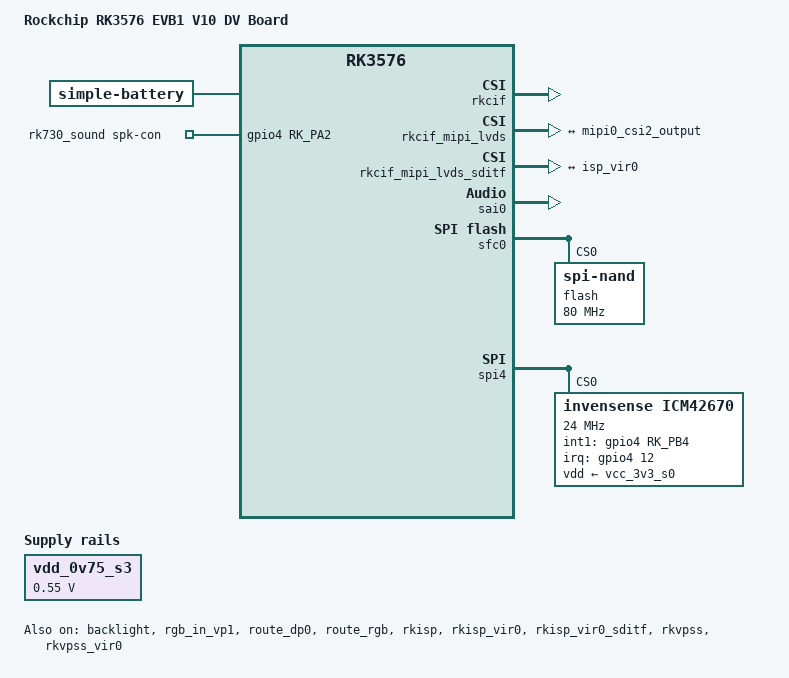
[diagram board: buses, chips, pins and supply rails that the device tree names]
// SPDX-License-Identifier: (GPL-2.0+ OR MIT)
/*
 * Copyright (c) 2024 Rockchip Electronics Co., Ltd.
 *
 */

/dts-v1/;
#include <dt-bindings/display/media-bus-format.h>
#include "rk3576s.dtsi"
#include "rk3576s-evb1.dtsi"
#include "rk3576-linux.dtsi"

/ {
	model = "Rockchip RK3576 EVB1 V10 DV Board";
	compatible = "rockchip,rk3576-evb1-v10-dv", "rockchip,rk3576";
	/delete-node/ vbus5v0-typec;
	/delete-node/ vcc-mipicsi0-regulator;
	/delete-node/ vcc-mipicsi1-regulator;

	bat: battery {
		compatible = "simple-battery";
		charge-full-design-microamp-hours = <8000000>;
		precharge-current-microamp = <180000>;
		precharge-upper-limit-microvolt = <3600000>;
		charge-term-current-microamp = <300000>;
		constant-charge-current-max-microamp = <10000000>;
		constant-charge-voltage-max-microvolt = <4350000>;
		factory-internal-resistance-micro-ohms = <80>;
		voltage-max-design-microvolt = <4350000>;
		voltage-min-design-microvolt = <3000000>;
	};

	charge-animation {
		compatible = "rockchip,uboot-charge";
		rockchip,uboot-charge-on = <0>;
		rockchip,android-charge-on = <1>;
		rockchip,uboot-low-power-voltage = <3450>;
		rockchip,screen-on-voltage = <3500>;
		rockchip,auto-wakeup-interval = <5>;
		rockchip,uboot-exit-charge-level = <2>;
		rockchip,uboot-exit-charge-voltage = <3500>;
		rockchip,uboot-exit-charge-auto = <1>;
		status = "disabled";
	};

	rk730_sound: rk730-sound {
		status = "okay";
		compatible = "rockchip,multicodecs-card";
		rockchip,card-name = "rockchip-rk730";
		spk-con-gpio = <&gpio4 RK_PA2 GPIO_ACTIVE_HIGH>;
		rockchip,pre-power-on-delay-ms = <30>;
		rockchip,post-power-down-delay-ms = <40>;
		rockchip,format = "i2s";
		rockchip,mclk-fs = <256>;
		rockchip,cpu = <&sai0>;
		rockchip,codec = <&rk730>;
		rockchip,audio-routing =
				"Headphone", "LOUT1",
				"Headphone", "ROUT1",
				"Speaker", "LOUT2",
				"Speaker", "ROUT2",
				"Headphone", "Headphone Power",
				"Headphone", "Headphone Power",
				"Speaker", "Speaker Power",
				"Speaker", "Speaker Power",
				"MIC2", "Main Mic",
				"MIC1", "Headset Mic";
	};
};

&backlight {
	pwms = <&pwm1_6ch_3 0 25000 0>;
	status = "okay";
};

&chosen {
	bootargs = "earlycon=uart8250,mmio32,0x2ad40000 console=ttyFIQ0 \
		   ubi.mtd=3 root=ubi0:rootfs rootfstype=ubifs rw rootwait \
		   rcupdate.rcu_expedited=1 rcu_nocbs=all isolcpus=3 nohz_full=3 \
		   snd_aloop.index=7 snd_aloop.use_raw_jiffies=1";
};

&CPU_SLEEP {
	status = "disabled";
};

&csi2_dcphy0 {
	status = "okay";

	ports {
		#address-cells = <1>;
		#size-cells = <0>;
		port@0 {
			reg = <0>;
			#address-cells = <1>;
			#size-cells = <0>;

			mipi_in_ucam0: endpoint@1 {
				reg = <1>;
				remote-endpoint = <&imx386_out0>;
				data-lanes = <1 2 3 4>;
			};

		};
		port@1 {
			reg = <1>;
			#address-cells = <1>;
			#size-cells = <0>;

			csidcphy0_out: endpoint@0 {
				reg = <0>;
				remote-endpoint = <&mipi0_csi2_input>;
			};
		};
	};
};

&display_subsystem {
	status = "okay";
};

&dp {
	status = "okay";
};

&dp0 {
	status = "okay";
};

&dp0_in_vp2 {
	status = "okay";
};

&dsi {
	status = "disabled";
};

&es8388_sound {
	status = "disabled";
};

&gpio4 {
	interrupt-affinity = <&cpu_l0>, <&cpu_l3>, <&cpu_l0>, <&cpu_l0>;
	interrupt-pins = <0>,
			 <RK_PIN_TO_BIT(RK_PB4)>,
			 <0>,
			 <0>;
};

&gt1x {
	status = "disabled";
};

&hdmi {
	status = "disabled";
};

&hdmi_in_vp0 {
	status = "disabled";
};

&hdptxphy_hdmi {
	status = "disabled";
};

&i2c2 {
	status = "okay";
	/delete-node/ husb311@4e;

	usbc0: fusb302@22 {
		compatible = "fcs,fusb302";
		reg = <0x22>;
		interrupt-parent = <&gpio0>;
		interrupts = <RK_PB4 IRQ_TYPE_LEVEL_LOW>;
		pinctrl-names = "default";
		pinctrl-0 = <&usbc0_int>;
		vbus-supply = <&vbus5v0_typec>;
		wakeup-source;
		status = "okay";

		port {
			usbc0_role_sw: endpoint {
				remote-endpoint = <&usb_drd0_role_switch>;
			};
		};

		usb_con: connector {
			compatible = "usb-c-connector";
			label = "USB-C";
			data-role = "dual";
			power-role = "dual";
			try-power-role = "sink";
			op-sink-microwatt = <1000000>;
			sink-pdos =
				<PDO_FIXED(5000, 3000, PDO_FIXED_USB_COMM)>;
			source-pdos =
				<PDO_FIXED(5000, 3000, PDO_FIXED_USB_COMM)>;
			mode-switch = <&dp>;

			altmodes {
				#address-cells = <1>;
				#size-cells = <0>;

				altmode@0 {
					reg = <0>;
					svid = <0xff01>;
					vdo = <0xffffffff>;
				};
			};

			ports {
				#address-cells = <1>;
				#size-cells = <0>;

				port@0 {
					reg = <0>;
					usbc0_orien_sw: endpoint {
						remote-endpoint = <&usbdp_phy_orientation_switch>;
					};
				};

				port@1 {
					reg = <1>;
					dp_altmode_mux: endpoint {
						remote-endpoint = <&usbdp_phy_dp_altmode_mux>;
					};
				};
			};
		};
	};
};

&i2c3 {
	status = "disabled";
};

&i2c4 {
	status = "okay";
	pinctrl-names = "default";
	pinctrl-0 = <&i2c4m1_xfer>;

	cw221X@64 {
		compatible = "cellwise,cw221X";
		reg = <0x64>;
		status = "okay";
		cw,user_rsense = <2000>;
		cellwise,battery-profile = /bits/ 8
			<0x5A 0x00 0x00 0x00 0x00 0x00 0x00 0x00
			 0xAA 0xB4 0xB7 0xBB 0xA7 0x9F 0xE3 0xD6
			 0xD0 0xFF 0xF5 0xA4 0x89 0x6D 0x5B 0x51
			 0x48 0x47 0x45 0xCC 0xC5 0xD8 0x7E 0xD3
			 0xCD 0xCC 0xCB 0xCA 0xC3 0xBF 0xDD 0x9A
			 0xB7 0xB9 0xB0 0x99 0x8A 0x82 0x76 0x69
			 0x61 0x63 0x77 0x8E 0xA5 0x7F 0x55 0x5F
			 0x20 0x00 0xAB 0x10 0x00 0xA2 0xEC 0x00
			 0x00 0x00 0x64 0x26 0xB1 0xCE 0x00 0x00
			 0x00 0x00 0x00 0x00 0x00 0x00 0x00 0x11>;
	};

	sc89601: sc89601@6b {
		compatible = "sc,sc89601";
		reg = <0x6b>;
		status = "okay";
		pinctrl-names = "default";
		pinctrl-0 = <&charger_ok>;
		interrupt-parent = <&gpio0>;
		interrupts = <RK_PD2 IRQ_TYPE_EDGE_FALLING>; /* IRQ_TYPE_LEVEL_LOW>;*/
		charger-phandle = <&usbc0>;
		sc,battery-regulation-voltage = <4350000>; /* 4200000,4.2V , 4350000, 4232000*/
		sc,charge-current = <3000000>; /*2040000,* 2.040A, 3000000 */
		sc,termination-current = <180000>;  /* 180mA, 180000 */
		sc,precharge-current = <180000>; /* 180mA */
		sc,minimum-sys-voltage = <3400000>; /*3500000, 3.5V */
		sc,boost-voltage = <5000000>; /*5100000, 5.1V */
		sc,boost-max-current = <1500000>; /*1200000, 1200mA */

		sc,use-stat-pin = <0>; /* enable stat pin */
		sc,boost-freq = <0>; /* 1.5MHz */

		//monitored-battery = <&bat>;
		regulators {
			otg-en-pin = <&gpio0 RK_PD3 GPIO_ACTIVE_HIGH>;
			vbus5v0_typec: vbus5v0-typec {
				regulator-compatible = "otg-vbus";
				regulator-name = "vbus5v0_typec";
			};
		};
	};
};

&i2c5 {
	status = "okay";
	pinctrl-0 = <&i2c5m2_xfer>;

	imx386: imx386@1a {
		compatible = "sony,imx386";
		reg = <0x1a>;
		clocks = <&cru CLK_MIPI_CAMERAOUT_M0>;
		clock-names = "xvclk";
		pinctrl-names = "default";
		pinctrl-0 = <&cam_clk0m1_clk0>; // GPIO2 D2
		power-domains = <&power RK3576_PD_VI>;
		avdd-supply = <&vcc_mipidcphy0>;
		reset-gpios = <&gpio2 RK_PD6 GPIO_ACTIVE_HIGH>;
		pwdn-gpios = <&gpio2 RK_PD7 GPIO_ACTIVE_HIGH>;
		rockchip,camera-module-index = <0>;
		rockchip,camera-module-facing = "back";
		rockchip,camera-module-name = "CMK-OT2022-PX1";
		rockchip,camera-module-lens-name = "IR0147-50IRC-8M-F20";
		port {
			imx386_out0: endpoint {
				remote-endpoint = <&mipi_in_ucam0>;
				data-lanes = <1 2 3 4>;
			};
		};
	};
};

&i2c7 {
	status = "disabled";
};

&i2c9 {
	status = "okay";
	pinctrl-names = "default";
	pinctrl-0 = <&i2c9m2_xfer>;

	rk730: rk730@16 {
			#sound-dai-cells = <0>;
			compatible = "rockchip,rk730";
			reg = <0x16>;
			clocks = <&mclkout_sai0>;
			clock-names = "mclk";
			assigned-clocks = <&mclkout_sai0>;
			assigned-clock-rates = <12288000>;
			pinctrl-names = "default";
			pinctrl-0 = <&sai0m0_mclk>;
			status = "okay";
	};
};

&little_core_thermal {
	trips {
		threshold: trip-point-0 {
			temperature = <105000>;
			hysteresis = <2000>;
			type = "passive";
		};
		target: trip-point-1 {
			temperature = <105000>;
			hysteresis = <2000>;
			type = "passive";
		};
		little_core_crit: little-core-crit {
			/* millicelsius */
			temperature = <115000>;
			/* millicelsius */
			hysteresis = <2000>;
			type = "critical";
		};
	};
};

&mipi0_csi2 {
	status = "okay";

	ports {
		#address-cells = <1>;
		#size-cells = <0>;

		port@0 {
			reg = <0>;
			#address-cells = <1>;
			#size-cells = <0>;

			mipi0_csi2_input: endpoint@1 {
				reg = <1>;
				remote-endpoint = <&csidcphy0_out>;
			};
		};

		port@1 {
			reg = <1>;
			#address-cells = <1>;
			#size-cells = <0>;

			mipi0_csi2_output: endpoint@0 {
				reg = <0>;
				remote-endpoint = <&cif_mipi_in0>;
			};
		};
	};
};

&mipidcphy0_pwr {
	rockchip,pins =
		/* camera power en */
		<2 RK_PD3 RK_FUNC_GPIO &pcfg_pull_none>;
};

/*
 * The pins of pcie1 and mcu_panel are multiplexed
 */
&pcie0 {
	status = "disabled";
};

&pinctrl {
	inv {
		inv_int1: inv-int1 {
			rockchip,pins =
				<4 RK_PB4 RK_FUNC_GPIO &pcfg_pull_up>;
		};
	};

	charger {
		charger_ok: charger_ok {
			rockchip,pins =
				<0 RK_PD2 RK_FUNC_GPIO &pcfg_pull_up>,
				<0 RK_PD3 RK_FUNC_GPIO &pcfg_pull_up>;
		};
	};

	usb {
		usb_host_pwren: usb-host-pwren {
			rockchip,pins = <0 RK_PC7 RK_FUNC_GPIO &pcfg_pull_none>;
		};

		usb_otg0_pwren: usb-otg0-pwren {
			rockchip,pins = <0 RK_PD1 RK_FUNC_GPIO &pcfg_pull_none>;
		};

		usbc0_int: usbc0-int {
			rockchip,pins = <0 RK_PB4 RK_FUNC_GPIO &pcfg_pull_up>;
		};
	};
};

&pwm1_6ch_3 {
	pinctrl-names = "active";
	pinctrl-0 = <&pwm1m3_ch3>;
	status = "okay";
};

&rgb {
	status = "okay";
	rockchip,data-sync-bypass;
	pinctrl-names = "default";
	/*
	 * rgb3x8_pins_m0/rgb3x8_pins_m1 for RGB3x8(8bit)
	 * rgb565_pins for RGB565(16bit)
	 */
	pinctrl-0 = <&rgb3x8_pins_m0>;

	/*
	 * 240x320 RGB/MCU screen DT20QV063
	 */
	mcu_panel: mcu-panel {
		/*
		 * MEDIA_BUS_FMT_RGB888_3X8    for RGB3x8(8bit)
		 * MEDIA_BUS_FMT_RGB565_1X16   for RGB565(16bit)
		 * MEDIA_BUS_FMT_RGB565_2X8_LE for RGB565(8bit)
		 */
		bus-format = <MEDIA_BUS_FMT_RGB565_2X8_LE>;
		backlight = <&backlight>; // dummy bl configuration
		enable-gpios = <&gpio4 RK_PA1 GPIO_ACTIVE_HIGH>;
		enable-delay-ms = <20>;
		reset-gpios = <&gpio4 RK_PA0 GPIO_ACTIVE_LOW>;
		reset-delay-ms = <200>;
		prepare-delay-ms = <10>;
		unprepare-delay-ms = <20>;
		disable-delay-ms = <20>;
		init-delay-ms = <120>;
		width-mm = <217>;
		height-mm = <136>;

		// type:0 is cmd, 1 is data
		panel-init-sequence = [
			//type delay num val1 val2 val3
			  // private access
			  00   00  01  fd
			  01   00  01  06
			  01   00  01  08

			  00   00  01  61
			  01   00  01  07
			  01   00  01  07

			  00   00  01  73
			  01   00  01  70
			  00   00  01  73
			  01   00  01  00

			  00   00  01  61
			  01   00  01  07
			  01   00  01  07
			  // bias setting
			  00   00  01  62
			  01   00  01  00
			  01   00  01  44
			  01   00  01  40
			  // vsp
			  00   00  01  65
			  01   00  01  08
			  01   00  01  10
			  01   00  01  21
			  // vsn
			  00   00  01  66
			  01   00  01  08
			  01   00  01  10
			  01   00  01  21
			  // add source neg time
			  00   00  01  67
			  01   00  01  21
			  01   00  01  40
			  // gamma vap/van
			  00   00  01  68
			  01   00  01  70
			  01   00  01  37
			  01   00  01  2a
			  01   00  01  16

			  // frame rate
			  00   00  01  b1
			  01   00  01  0f
			  01   00  01  02
			  01   00  01  04

			  00   00  01  b4
			  01   00  01  01

			  // porch
			  00   00  01  b5
			  01   00  01  02
			  01   00  01  02
			  01   00  01  0a
			  01   00  01  14

			  // display function
			  00   00  01  b6
			  01   00  01  44
			  01   00  01  01
			  01   00  01  9f
			  01   00  01  00
			  01   00  01  02
			  // source
			  00   00  01  e6
			  01   00  01  00
			  01   00  01  ff

			  00   00  01  e7
			  01   00  01  01
			  01   00  01  04
			  01   00  01  03
			  01   00  01  03
			  01   00  01  00
			  01   00  01  12

			  00   00  01  e8
			  01   00  01  00
			  01   00  01  70
			  01   00  01  00
			  // gate
			  00   00  01  ec
			  01   00  01  52
			  // gamma_sel
			  00   00  01  df
			  01   00  01  11
			  // gamma test1
			  00   00  01  e0
			  01   00  01  07
			  01   00  01  07
			  01   00  01  0a
			  01   00  01  13
			  01   00  01  0e
			  01   00  01  11
			  01   00  01  11
			  01   00  01  19

			  00   00  01  e3
			  01   00  01  12
			  01   00  01  0f
			  01   00  01  11
			  01   00  01  0e
			  01   00  01  10
			  01   00  01  09
			  01   00  01  05
			  01   00  01  06

			  00   00  01  e1
			  01   00  01  2a
			  01   00  01  71

			  00   00  01  e4
			  01   00  01  6b
			  01   00  01  2a

			  00   00  01  e2
			  01   00  01  00
			  01   00  01  13
			  01   00  01  17
			  01   00  01  31
			  01   00  01  36
			  01   00  01  3f

			  00   00  01  e5
			  01   00  01  3f
			  01   00  01  36
			  01   00  01  32
			  01   00  01  17
			  01   00  01  13
			  01   00  01  00

			  00   00  01  f6
			  01   00  01  01
			  01   00  01  30
			  01   00  01  00
			  01   00  01  00

			  00   00  01  f1
			  01   00  01  01 //te
			  01   00  01  01 //01
			  01   00  01  20 //02

			  00   00  01  fd
			  01   00  01  fa
			  01   00  01  fc

			  00   00  01  3a
			  01   00  01  55

			  00   00  01  35
			  01   00  01  00
			  00   00  01  36
			  01   00  01  00

			  // exit sleep
			  00   c8  01  11
			  // display on
			  00   14  01  29

			  00   00  01  2a
			  01   00  01  00
			  01   00  01  00
			  01   00  01  00
			  01   00  01  ef

			  00   00  01  2b
			  01   00  01  00
			  01   00  01  00
			  01   00  01  01
			  01   00  01  3f

			  00   00  01  2c
		];

		panel-exit-sequence = [
			//type delay num val1 val2 val3
			// display off
			00   14  01  28
			// enter sleep
			00   c8  01  10
		];

		display-timings {
			native-mode = <&kd050fwfba002_timing>;

			kd050fwfba002_timing: timing0 {
				/*
				 * 7840125  for frame rate 45Hz
				 * 10453500 for frame rate 60Hz
				 */
				clock-frequency = <2742750>;
				hactive = <240>;
				vactive = <320>;
				hback-porch = <10>;
				hfront-porch = <5>;
				vback-porch = <10>;
				vfront-porch = <5>;
				hsync-len = <10>;
				vsync-len = <10>;
				hsync-active = <0>;
				vsync-active = <0>;
				de-active = <0>;
				pixelclk-active = <1>;
			};
		};

		port {
			panel_in_rgb: endpoint {
				remote-endpoint = <&rgb_out_panel>;
			};
		};
	};

	ports {
		rgb_out: port@1 {
			reg = <1>;
			#address-cells = <1>;
			#size-cells = <0>;

			rgb_out_panel: endpoint@0 {
				reg = <0>;
				remote-endpoint = <&panel_in_rgb>;
			};
		};
	};
};

&rgb_in_vp1 {
	status = "okay";
};

&route_dp0 {
	status = "okay";
};

&route_dsi {
	status = "disabled";
};

&route_hdmi {
	status = "disabled";
};

&route_rgb {
	status = "okay";
	connect = <&vp1_out_rgb>;
};

&rkcif {
	status = "okay";
};

&rkcif_mipi_lvds {
	status = "okay";

	port {
		cif_mipi_in0: endpoint {
			remote-endpoint = <&mipi0_csi2_output>;
		};
	};
};

&rkcif_mipi_lvds_sditf {
	status = "okay";

	port {
		mipi_lvds_sditf: endpoint {
			remote-endpoint = <&isp_vir0>;
		};
	};
};

&rkcif_mmu {
	status = "okay";
};

&rkisp {
	status = "okay";
};

&rkisp_mmu {
	status = "okay";
};

&rkisp_vir0 {
	status = "okay";

	port {
		#address-cells = <1>;
		#size-cells = <0>;

		isp_vir0: endpoint@0 {
			reg = <0>;
			remote-endpoint = <&mipi_lvds_sditf>;
		};
	};
};

&rkisp_vir0_sditf {
	status = "okay";
};

&rkvpss {
	status = "okay";
};

&rkvpss_mmu {
	status = "okay";
};

&rkvpss_vir0 {
	status = "okay";
};

&sai0 {
	status = "okay";
	pinctrl-0 = <&sai0m0_lrck
			     &sai0m0_sclk
			     &sai0m0_sdi0
			     &sai0m0_sdo0>;
};

/*
 * The pins of sai1 and mcu_panel are multiplexed
 */
&sai1 {
	status = "disabled";
};

&sfc0 {
	status = "okay";

	flash@0 {
		compatible = "spi-nand";
		reg = <0>;
		spi-max-frequency = <80000000>;
		spi-rx-bus-width = <4>;
		spi-tx-bus-width = <1>;
	};
};

&spi4 {
	status = "okay";
	max-freq = <24000000>;
	pinctrl-names = "default";
	pinctrl-0 = <&spi4m2_csn0 &spi4m2_pins &inv_int1>;
	icm42670: icm42670@0 {
		compatible = "invensense,icm42670";
		reg = <0x0>;
		spi-max-frequency = <24000000>;
		spi-cpha;
		spi-cpol;
		vdd-supply = <&vcc_3v3_s0>;
		drive-open-drain = <1>;
		int1-gpio = <&gpio4 RK_PB4 GPIO_ACTIVE_HIGH>;
		interrupt-parent = <&gpio4>;
		interrupts = <12 IRQ_TYPE_EDGE_FALLING>;
		status = "okay";
	};
};

&usbdp_phy {
	sbu1-dc-gpios = <&gpio4 RK_PA3 GPIO_ACTIVE_HIGH>;
	sbu2-dc-gpios = <&gpio4 RK_PA5 GPIO_ACTIVE_HIGH>;
};

&vcc_mipidcphy0 {
	gpio = <&gpio2 RK_PD3 GPIO_ACTIVE_HIGH>;
};

&vp0 {
	status = "disabled";
};

&vp1 {
	mcu-timing {
		mcu-pix-total = <5>;
		mcu-cs-pst = <1>;
		mcu-cs-pend = <4>;
		mcu-rw-pst = <2>;
		mcu-rw-pend = <3>;

		mcu-hold-mode = <0>;
	};
};

&vdd_0v75_s3 {
	regulator-min-microvolt = <550000>;
};
